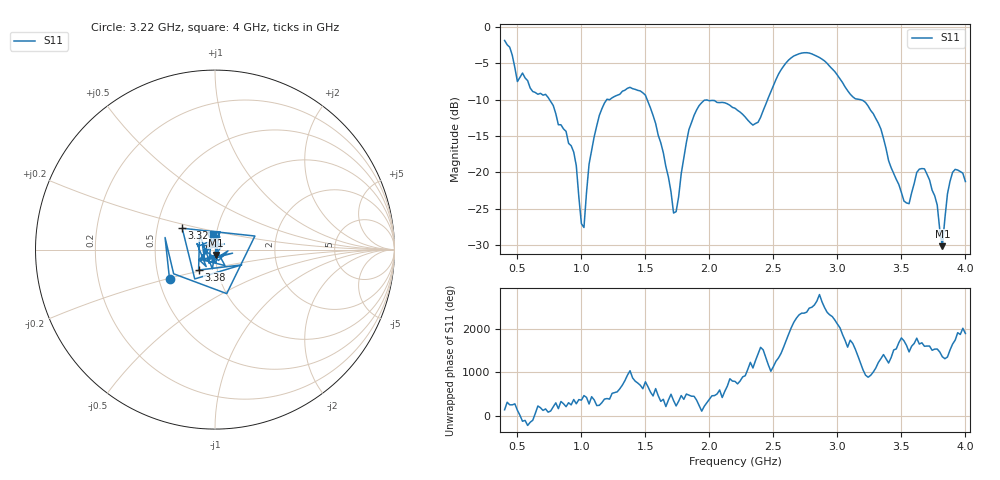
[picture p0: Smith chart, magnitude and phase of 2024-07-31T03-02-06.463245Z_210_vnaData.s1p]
!Created with skrf (http://scikit-rf.org).
# Hz S RI R 50.0
!freq ReS11 ImS11
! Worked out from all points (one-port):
!   181 points, 400 MHz to 4 GHz, reference 50 ohm
!   lowest |S11| = -30.2 dB at 3.82 GHz (marker M1), VSWR 1.06, Z = 50.4 - j3.09 ohm
!   |S11| at or under -10 dB: 751.2 MHz to 1.197 GHz (446.2 MHz wide, 45.8 % of centre); 1.514 GHz to 2.454 GHz (939.9 MHz wide, 47.4 % of centre); 3.182 GHz to end of sweep (the widest 3 of 4)
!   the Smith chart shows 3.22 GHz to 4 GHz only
!   S11 on the Smith chart (normalised r, x): 3.22 GHz: 0.57, -0.21; 3.32 GHz: 0.67, +0.17; 3.38 GHz: 0.81, -0.19; 4 GHz: 0.96, +0.17
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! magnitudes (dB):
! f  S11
! 400 MHz  -1.8
! 500 MHz  -7.5
! 720 MHz  -9.3
! 860 MHz  -14.0
! 940 MHz  -17.2
! 1.02 GHz  -27.6
! 1.06 GHz  -18.9
! 1.14 GHz  -12.2
! 1.3 GHz  -9.3
! 1.5 GHz  -9.4
! 1.64 GHz  -17.3
! 1.72 GHz  -25.6
! 1.76 GHz  -23.3
! 1.84 GHz  -14.1
! 1.92 GHz  -10.8
! 2.2 GHz  -11.2
! 2.38 GHz  -13.1
! 2.66 GHz  -4.0
! 3.1 GHz  -9.2
! 3.22 GHz  -10.4
! 3.32 GHz  -13.2
! 3.38 GHz  -16.7
! 3.56 GHz  -24.3
! 3.68 GHz  -19.5
! 3.78 GHz  -24.5
! 3.82 GHz  -30.2
! 3.9 GHz  -20.0
! 4 GHz  -21.3
